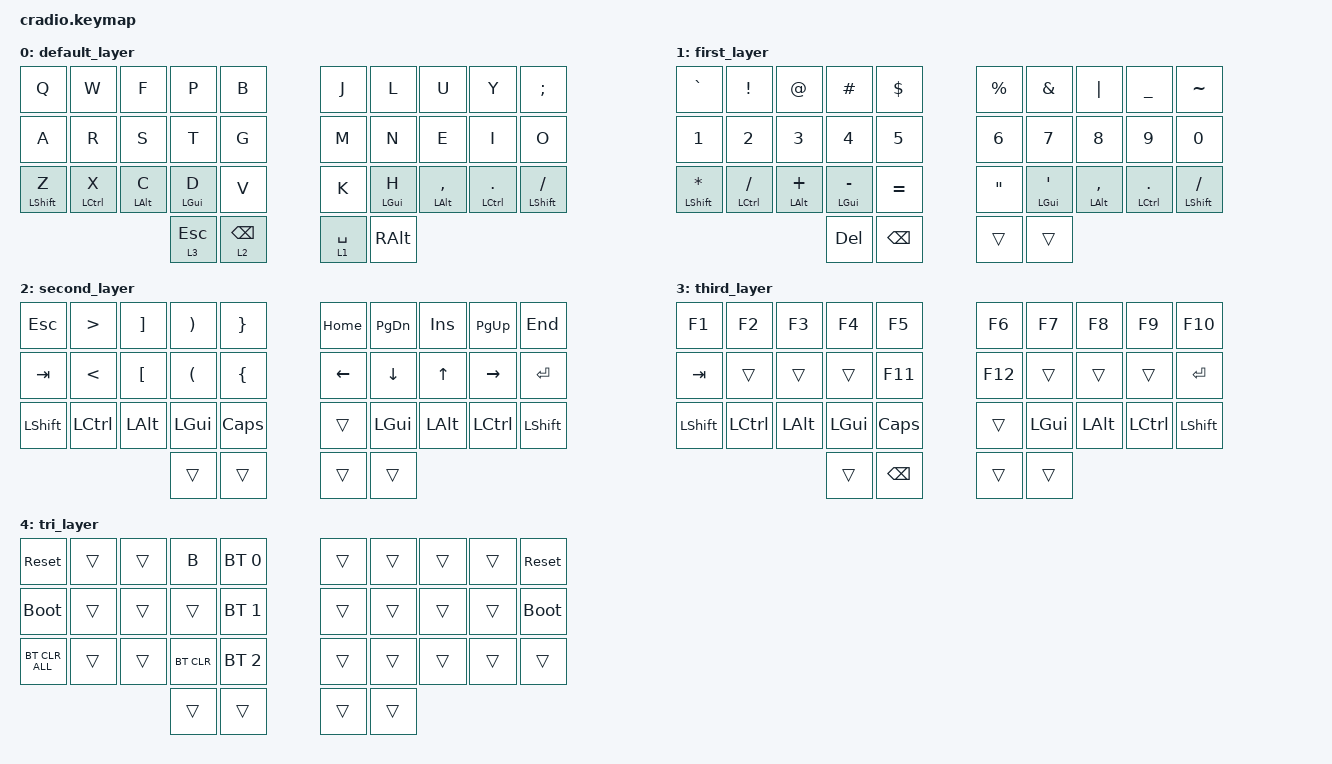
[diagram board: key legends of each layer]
// Copyright (c) 2022 The ZMK Contributors
// SPDX-License-Identifier: MIT

#include <behaviors.dtsi>
#include <dt-bindings/zmk/bt.h>
#include <dt-bindings/zmk/keys.h>


/ {

    conditional_layers {
        compatible = "zmk,conditional-layers";
    
        tri_layer {
            if-layers = <1 2>;
            then-layer = <4>;
        };
    };

    keymap {
        compatible = "zmk,keymap";

        default_layer {
            bindings = <
&kp Q        &kp W        &kp F       &kp P       &kp B         &kp J        &kp L       &kp U           &kp Y             &kp SEMI
&kp A        &kp R        &kp S       &kp T       &kp G         &kp M        &kp N       &kp E           &kp I             &kp O
&mt LSHFT Z  &mt LCTRL X  &mt LALT C  &mt LGUI D  &kp V         &kp K        &mt LGUI H  &mt LALT COMMA  &mt LCTRL PERIOD  &mt LSHFT SLASH
                                      &lt 3 ESC   &lt 2 BSPC    &lt 1 SPACE  &kp RALT
            >;
        };

        first_layer {
            bindings = <
&kp GRAVE        &kp EXCL        &kp AT         &kp HASH        &kp DLLR         &kp PRCNT  &kp AMPS      &kp PIPE        &kp UNDER         &kp TILDE
&kp N1           &kp N2          &kp N3         &kp N4          &kp N5           &kp N6     &kp N7        &kp N8          &kp N9            &kp N0
&mt LSHFT ASTRK  &mt LCTRL FSLH  &mt LALT PLUS  &mt LGUI MINUS  &kp EQUAL        &kp DQT    &mt LGUI SQT  &mt LALT COMMA  &mt LCTRL PERIOD  &mt LSHFT FSLH
                                                &kp DELETE      &kp BACKSPACE    &trans     &trans
            >;
        };

        second_layer {
            bindings = <
&kp ESC    &kp GT     &kp RIGHT_BRACKET  &kp RPAR  &kp RBRC    &kp HOME  &kp PAGE_DOWN  &kp INS   &kp PG_UP  &kp END
&kp TAB    &kp LT     &kp LBKT           &kp LPAR  &kp LBRC    &kp LEFT  &kp DOWN       &kp UP    &kp RIGHT  &kp ENTER
&kp LSHFT  &kp LCTRL  &kp LALT           &kp LGUI  &kp CAPS    &trans    &kp LGUI       &kp LALT  &kp LCTRL  &kp LSHFT
                                         &trans    &trans      &trans    &trans
            >;
        };

        third_layer {
            bindings = <
&kp F1     &kp F2     &kp F3    &kp F4    &kp F5           &kp F6   &kp F7    &kp F8    &kp F9     &kp F10
&kp TAB    &trans     &trans    &trans    &kp F11          &kp F12  &trans    &trans    &trans     &kp ENTER
&kp LSHFT  &kp LCTRL  &kp LALT  &kp LGUI  &kp CAPS         &trans   &kp LGUI  &kp LALT  &kp LCTRL  &kp LSHFT
                                &trans    &kp BACKSPACE    &trans   &trans
            >;
        };

        tri_layer {
            bindings = <
&sys_reset      &trans  &trans  &kp B       &bt BT_SEL 0    &trans  &trans  &trans  &trans  &sys_reset
&bootloader     &trans  &trans  &trans      &bt BT_SEL 1    &trans  &trans  &trans  &trans  &bootloader
&bt BT_CLR_ALL  &trans  &trans  &bt BT_CLR  &bt BT_SEL 2    &trans  &trans  &trans  &trans  &trans
                             &trans      &trans          &trans  &trans
            >;
        };
    };
};
